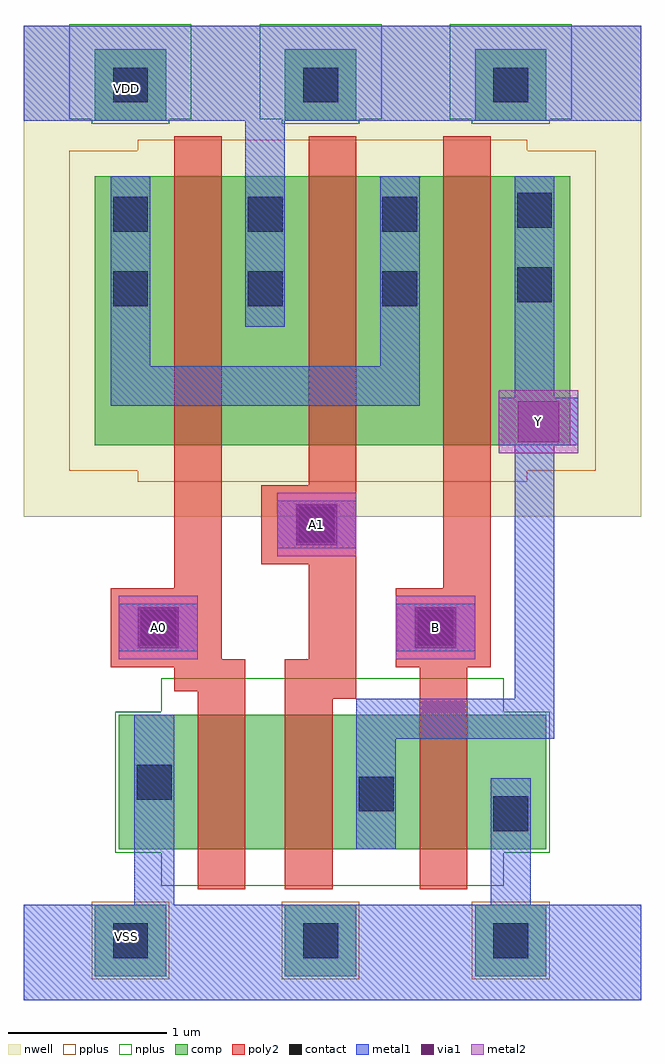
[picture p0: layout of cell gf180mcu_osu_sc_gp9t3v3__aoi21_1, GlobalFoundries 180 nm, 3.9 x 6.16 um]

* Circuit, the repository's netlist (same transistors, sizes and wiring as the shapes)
* Copyright 2022 Google LLC
*
* Licensed under the Apache License, Version 2.0 (the "License");
* you may not use this file except in compliance with the License.
* You may obtain a copy of the License at
*
*      http://www.apache.org/licenses/LICENSE-2.0
*
* Unless required by applicable law or agreed to in writing, software
* distributed under the License is distributed on an "AS IS" BASIS,
* WITHOUT WARRANTIES OR CONDITIONS OF ANY KIND, either express or implied.
* See the License for the specific language governing permissions and
* limitations under the License.

.inc "/import/yukari1/lrburle/OSU_180/char/techfiles/design.hspice"
.lib "/import/yukari1/lrburle/OSU_180/char/techfiles/sm141064.hspice" typical

.GLOBAL VDD
.GLOBAL VSS

.option scale=0.05u

.subckt gf180mcu_osu_sc_gp9t3v3__aoi21_1 Y A0 A1 B
X0 a_9_70 A1 VDD VDD pmos_3p3 w=34 l=6
X1 VSS B Y VSS nmos_3p3 w=17 l=6
X2 Y B a_9_70 VDD pmos_3p3 w=34 l=6
X3 VDD A0 a_9_70 VDD pmos_3p3 w=34 l=6
X4 a_28_19 A0 VSS VSS nmos_3p3 w=17 l=6
X5 Y A1 a_28_19 VSS nmos_3p3 w=17 l=6
.ends

** hspice subcircuit dictionary

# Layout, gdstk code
import gdstk
lib = gdstk.Library(unit=1e-6, precision=1e-09)
def R(c, l, rs):  # rectangles x0, y0, x1, y1
    for r in rs: c.add(gdstk.rectangle(r[:2], r[2:], *l))
def A(c, l, x, y, w, h, nx, ny, dx, dy):  # array of equal rectangles
    R(c, l, [(x+i*dx, y+j*dy, x+i*dx+w, y+j*dy+h) for i in range(nx) for j in range(ny)])
nwell = (21, 0)
comp = (22, 0)
poly2 = (30, 0)
pplus = (31, 0)
nplus = (32, 0)
contact = (33, 0)
metal1 = (34, 0)
via1 = (35, 0)
metal2 = (36, 0)

gf180mcu_osu_sc_gp9t3v3_ = lib.new_cell('gf180mcu_osu_sc_gp9t3v3__aoi21_1')
R(gf180mcu_osu_sc_gp9t3v3_, nwell, [(0,3.05,3.9,6.15)])
A(gf180mcu_osu_sc_gp9t3v3_, comp, 0.45, 0.15, 0.45, 0.45, 3, 2, 1.2, 5.4)
R(gf180mcu_osu_sc_gp9t3v3_, comp, [(0.6,0.95,3.3,1.8), (0.45,3.5,3.45,5.2)])
R(gf180mcu_osu_sc_gp9t3v3_, poly2, [(1.1,0.7,1.4,1.95), (1.65,0.7,1.95,1.9), (2.5,0.7,2.8,2.1), (1.65,1.9,2.1,2.15), (0.95,1.95,1.4,2.1), (0.55,2.1,1.4,2.15), (2.35,2.1,2.95,2.6), (0.55,2.15,1.25,2.6), (1.8,2.15,2.1,2.75), (0.95,2.6,1.25,5.45), (2.65,2.6,2.95,5.45), (1.5,2.75,2.1,3.25), (1.8,3.25,2.1,5.45)])
A(gf180mcu_osu_sc_gp9t3v3_, pplus, 0.43, 0.13, 0.49, 0.49, 3, 1, 1.2, 0)
R(gf180mcu_osu_sc_gp9t3v3_, pplus, [(0.72,3.27,3.18,3.34), (0.29,3.34,3.61,5.36), (0.72,5.36,3.18,5.43)])
A(gf180mcu_osu_sc_gp9t3v3_, nplus, 0.43, 5.53, 0.49, 0.03, 3, 1, 1.2, 0)
A(gf180mcu_osu_sc_gp9t3v3_, nplus, 0.29, 5.56, 0.77, 0.6, 3, 1, 1.2, 0)
R(gf180mcu_osu_sc_gp9t3v3_, nplus, [(0.87,0.72,3.03,0.93), (0.58,0.93,3.32,1.82), (0.87,1.82,3.03,2.03)])
A(gf180mcu_osu_sc_gp9t3v3_, contact, 0.565, 0.265, 0.22, 0.22, 3, 2, 1.2, 5.4)
A(gf180mcu_osu_sc_gp9t3v3_, contact, 0.565, 4.38, 0.22, 0.22, 3, 2, 0.85, 0.47)
R(gf180mcu_osu_sc_gp9t3v3_, contact, [(2.965,1.065,3.185,1.285), (2.115,1.19,2.335,1.41), (0.715,1.265,0.935,1.485), (0.74,2.24,0.96,2.46), (2.49,2.24,2.71,2.46), (1.74,2.89,1.96,3.11), (3.115,4.405,3.335,4.625), (3.115,4.875,3.335,5.095)])
R(gf180mcu_osu_sc_gp9t3v3_, metal1, [(0,0,3.9,0.6), (0.7,0.6,0.95,1.8), (2.95,0.6,3.2,1.4), (2.1,0.95,2.35,1.65), (2.1,1.65,3.35,1.9), (3.1,1.9,3.35,3.5), (0.6,2.2,1.1,2.5), (2.35,2.2,2.85,2.5), (1.6,2.85,2.1,3.15), (3,3.5,3.5,3.8), (0.55,3.75,2.5,4), (3.1,3.8,3.35,5.2), (0.55,4,0.8,5.2), (2.25,4,2.5,5.2), (1.4,4.25,1.65,5.55), (0,5.55,3.9,6.15)])
R(gf180mcu_osu_sc_gp9t3v3_, via1, [(0.72,2.22,0.98,2.48), (2.47,2.22,2.73,2.48), (1.72,2.87,1.98,3.13), (3.12,3.52,3.38,3.78)])
R(gf180mcu_osu_sc_gp9t3v3_, metal2, [(0.6,2.15,1.1,2.55), (2.35,2.15,2.85,2.55), (1.6,2.8,2.1,3.2), (3,3.45,3.5,3.85)])
gf180mcu_osu_sc_gp9t3v3_.add(gdstk.Label('VDD', (0.65,5.75), layer=34, texttype=0))
gf180mcu_osu_sc_gp9t3v3_.add(gdstk.Label('VSS', (0.65,0.4), layer=34, texttype=0))
gf180mcu_osu_sc_gp9t3v3_.add(gdstk.Label('Y', (3.25,3.65), layer=36, texttype=10))
gf180mcu_osu_sc_gp9t3v3_.add(gdstk.Label('A0', (0.85,2.35), layer=36, texttype=10))
gf180mcu_osu_sc_gp9t3v3_.add(gdstk.Label('A1', (1.85,3), layer=36, texttype=10))
gf180mcu_osu_sc_gp9t3v3_.add(gdstk.Label('B', (2.6,2.35), layer=36, texttype=10))

lib.write_gds('gf180mcu_osu_sc_gp9t3v3__aoi21_1.gds')
